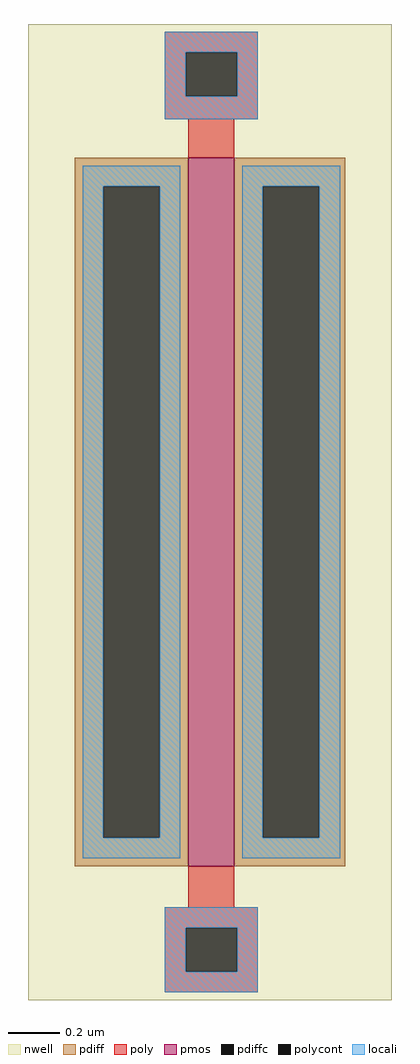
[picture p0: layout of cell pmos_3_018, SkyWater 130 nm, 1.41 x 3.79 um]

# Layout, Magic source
magic
tech sky130A
<< nwell >>
rect -62 -39 79 340
<< pmos >>
rect 0 13 18 288
<< pdiff >>
rect -44 277 0 288
rect -44 24 -33 277
rect -11 24 0 277
rect -44 13 0 24
rect 18 277 61 288
rect 18 24 29 277
rect 51 24 61 277
rect 18 13 61 24
<< pdiffc >>
rect -33 24 -11 277
rect 29 24 51 277
<< poly >>
rect -9 329 27 337
rect -9 312 -1 329
rect 19 312 27 329
rect -9 303 27 312
rect 0 288 18 303
rect 0 -3 18 13
rect -9 -11 27 -3
rect -9 -28 -1 -11
rect 19 -28 27 -11
rect -9 -36 27 -28
<< polycont >>
rect -1 312 19 329
rect -1 -28 19 -11
<< locali >>
rect -9 329 27 337
rect -9 312 -1 329
rect 19 312 27 329
rect -9 303 27 312
rect -41 277 -3 285
rect -41 24 -33 277
rect -11 24 -3 277
rect -41 16 -3 24
rect 21 277 59 285
rect 21 24 29 277
rect 51 24 59 277
rect 21 16 59 24
rect -9 -11 27 -3
rect -9 -28 -1 -11
rect 19 -28 27 -11
rect -9 -36 27 -28
<< end >>
